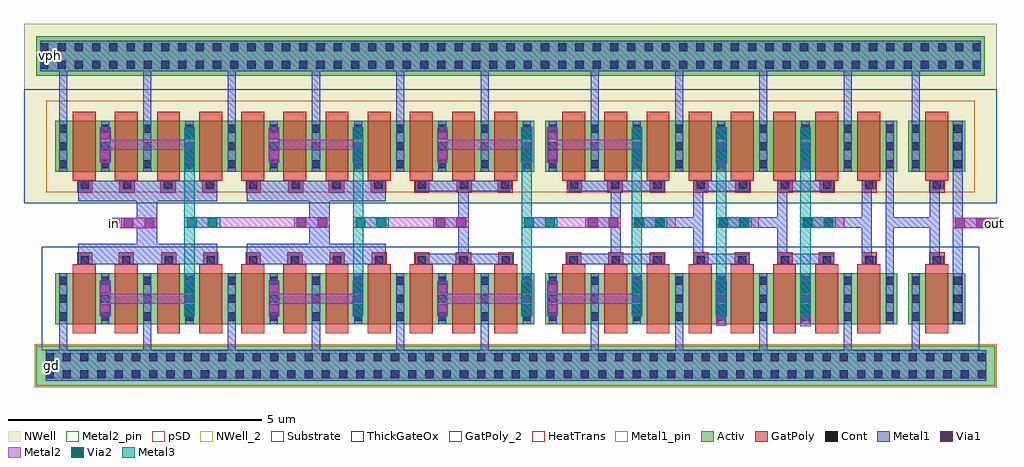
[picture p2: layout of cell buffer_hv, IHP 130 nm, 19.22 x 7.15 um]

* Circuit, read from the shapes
.subckt buffer_hv gd in out vph
XM1 n1 in gd gd sg13_hv_nmos w=1u l=0.45u m=4
XM2 n2 n1 gd gd sg13_hv_nmos w=1u l=0.45u m=4
XM3 n3 n2 gd gd sg13_hv_nmos w=1u l=0.45u m=3
XM4 gd n3 n4 gd sg13_hv_nmos w=1u l=0.45u m=3
XM5 n5 n4 gd gd sg13_hv_nmos w=1u l=0.45u m=2
XM6 n6 n5 gd gd sg13_hv_nmos w=1u l=0.45u m=2
XM7 n7 n6 gd gd sg13_hv_nmos w=1u l=0.45u
XM8 out n7 gd gd sg13_hv_nmos w=1u l=0.45u
XM9 n1 in vph vph sg13_hv_pmos w=1u l=0.45u m=4
XM10 n2 n1 vph vph sg13_hv_pmos w=1u l=0.45u m=4
XM11 n3 n2 vph vph sg13_hv_pmos w=1u l=0.45u m=3
XM12 vph n3 n4 vph sg13_hv_pmos w=1u l=0.45u m=3
XM13 n5 n4 vph vph sg13_hv_pmos w=1u l=0.45u m=2
XM14 n6 n5 vph vph sg13_hv_pmos w=1u l=0.45u m=2
XM15 n7 n6 vph vph sg13_hv_pmos w=1u l=0.45u
XM16 out n7 vph vph sg13_hv_pmos w=1u l=0.45u
.ends

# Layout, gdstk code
from math import pi, radians
import gdstk
lib = gdstk.Library(unit=1e-6, precision=1e-09)
def R(c, l, rs):  # rectangles x0, y0, x1, y1
    for r in rs: c.add(gdstk.rectangle(r[:2], r[2:], *l))
def A(c, l, x, y, w, h, nx, ny, dx, dy):  # array of equal rectangles
    R(c, l, [(x+i*dx, y+j*dy, x+i*dx+w, y+j*dy+h) for i in range(nx) for j in range(ny)])
Activ = (1, 0)
GatPoly = (5, 0)
GatPoly_2 = (5, 2)
Cont = (6, 0)
Metal1 = (8, 0)
Metal1_pin = (8, 2)
Metal2 = (10, 0)
Metal2_pin = (10, 2)
pSD = (14, 0)
Via1 = (19, 0)
Via2 = (29, 0)
Metal3 = (30, 0)
NWell = (31, 0)
NWell_2 = (31, 2)
Substrate = (40, 0)
ThickGateOx = (44, 0)
HeatTrans = (51, 0)

ptap1_40 = lib.new_cell('ptap1$40')
R(ptap1_40, Activ, [(0,0,18.89,0.78)])
A(ptap1_40, Cont, 0.185, 0.14, 0.16, 0.16, 55, 2, 0.34, 0.34)
R(ptap1_40, Metal1, [(0.185,0.09,18.705,0.69), (0.185,0.14,18.705,0.64)])
R(ptap1_40, Metal1_pin, [(0.185,0.14,18.705,0.64)])
R(ptap1_40, pSD, [(-0.03,-0.03,18.92,0.81)])
R(ptap1_40, Substrate, [(0,0,18.89,0.78)])
ptap1_40.add(gdstk.Label('sub!', (9.445,0.01), layer=63, texttype=0))
ptap1_40.add(gdstk.Label('sub!', (9.445,0.01), layer=40, texttype=0))

pmoshv_1_2 = lib.new_cell('pmosHV$1$2')
A(pmoshv_1_2, Activ, 0, 0, 0.3, 0.3, 4, 1, 0.83, 0)
R(pmoshv_1_2, Activ, [(0,0,2.79,1)])
A(pmoshv_1_2, GatPoly, 0.34, -0.18, 0.45, 1.36, 3, 1, 0.83, 0)
R(pmoshv_1_2, GatPoly_2, [(0.34,-0.18,0.79,1.18)])
A(pmoshv_1_2, Cont, 0.07, 0.07, 0.16, 0.16, 4, 3, 0.83, 0.35)
A(pmoshv_1_2, Metal1, 0.07, 0, 0.16, 1, 4, 1, 0.83, 0)
R(pmoshv_1_2, Metal1_pin, [(0.07,0,0.23,1), (0.9,0,1.06,1)])
R(pmoshv_1_2, pSD, [(-0.18,-0.4,2.97,1.4)])
R(pmoshv_1_2, NWell, [(-0.62,-0.62,3.41,1.62)])
R(pmoshv_1_2, ThickGateOx, [(-0.62,-0.62,3.41,1.62)])
A(pmoshv_1_2, HeatTrans, 0.34, -0.18, 0.45, 1.36, 3, 1, 0.83, 0)
pmoshv_1_2.add(gdstk.Label('pmosHV', (0.565,0.5), layer=63, texttype=0))
pmoshv_1_2.add(gdstk.Label('pmos', (0.565,0.5), layer=51, texttype=0))
pmoshv_1_2.add(gdstk.Label('pmos', (1.395,0.5), layer=51, texttype=0))
pmoshv_1_2.add(gdstk.Label('pmos', (2.225,0.5), layer=51, texttype=0))

ntap1_4 = lib.new_cell('ntap1$4')
R(ntap1_4, Activ, [(0,0,18.68,0.78)])
A(ntap1_4, Cont, 0.08, 0.14, 0.16, 0.16, 55, 2, 0.34, 0.34)
R(ntap1_4, Metal1, [(0.08,0.09,18.6,0.69)])
R(ntap1_4, Metal1_pin, [(0.08,0.09,18.6,0.69), (0.08,0.14,18.6,0.64)])
R(ntap1_4, NWell, [(-0.24,-0.24,18.92,1.02), (0,0,18.68,0.78)])
R(ntap1_4, NWell_2, [(0,0,18.68,0.78)])
ntap1_4.add(gdstk.Label('well', (9.34,0.01), layer=63, texttype=0))
ntap1_4.add(gdstk.Label('well', (9.34,0.01), layer=31, texttype=0))

nmoshv_1_2 = lib.new_cell('nmosHV$1$2')
A(nmoshv_1_2, Activ, 0, 0, 0.3, 0.3, 4, 1, 0.83, 0)
R(nmoshv_1_2, Activ, [(0,0,2.79,1)])
A(nmoshv_1_2, GatPoly, 0.34, -0.18, 0.45, 1.36, 3, 1, 0.83, 0)
R(nmoshv_1_2, GatPoly_2, [(0.34,-0.18,0.79,1.18)])
A(nmoshv_1_2, Cont, 0.07, 0.07, 0.16, 0.16, 4, 3, 0.83, 0.35)
A(nmoshv_1_2, Metal1, 0.07, 0, 0.16, 1, 4, 1, 0.83, 0)
R(nmoshv_1_2, Metal1_pin, [(0.07,0,0.23,1), (0.9,0,1.06,1)])
R(nmoshv_1_2, ThickGateOx, [(-0.27,-0.52,3.06,1.52)])
A(nmoshv_1_2, HeatTrans, 0.34, -0.18, 0.45, 1.36, 3, 1, 0.83, 0)
nmoshv_1_2.add(gdstk.Label('nmosHV', (0.565,0.5), layer=63, texttype=0))
nmoshv_1_2.add(gdstk.Label('nmosHV', (0.565,0.5), layer=51, texttype=0))
nmoshv_1_2.add(gdstk.Label('nmosHV', (1.395,0.5), layer=51, texttype=0))
nmoshv_1_2.add(gdstk.Label('nmosHV', (2.225,0.5), layer=51, texttype=0))

via_97 = lib.new_cell('Via$97')
R(via_97, GatPoly, [(-0.15,-0.15,0.15,0.15)])
R(via_97, Cont, [(-0.08,-0.08,0.08,0.08)])
R(via_97, Metal1, [(-0.13,-0.08,0.13,0.08)])

via_2_4 = lib.new_cell('Via$2$4')
R(via_2_4, Metal1, [(-0.35,-0.105,0.35,0.105)])
R(via_2_4, Metal2, [(-0.35,-0.1,0.35,0.1)])
R(via_2_4, Via1, [(-0.3,-0.095,-0.11,0.095), (0.11,-0.095,0.3,0.095)])

pmoshv_3_2 = lib.new_cell('pmosHV$3$2')
R(pmoshv_3_2, Activ, [(0,0,0.3,0.3), (0,0,1.13,1), (0.83,0,1.13,0.3)])
R(pmoshv_3_2, GatPoly, [(0.34,-0.18,0.79,1.18)])
R(pmoshv_3_2, GatPoly_2, [(0.34,-0.18,0.79,1.18)])
A(pmoshv_3_2, Cont, 0.07, 0.07, 0.16, 0.16, 1, 3, 0, 0.35)
A(pmoshv_3_2, Cont, 0.9, 0.07, 0.16, 0.16, 1, 3, 0, 0.35)
R(pmoshv_3_2, Metal1, [(0.07,0,0.23,1), (0.9,0,1.06,1)])
R(pmoshv_3_2, Metal1_pin, [(0.07,0,0.23,1), (0.9,0,1.06,1)])
R(pmoshv_3_2, pSD, [(-0.18,-0.4,1.31,1.4)])
R(pmoshv_3_2, NWell, [(-0.62,-0.62,1.75,1.62)])
R(pmoshv_3_2, ThickGateOx, [(-0.62,-0.62,1.75,1.62)])
R(pmoshv_3_2, HeatTrans, [(0.34,-0.18,0.79,1.18)])
pmoshv_3_2.add(gdstk.Label('pmosHV', (0.565,0.5), layer=63, texttype=0))
pmoshv_3_2.add(gdstk.Label('pmos', (0.565,0.5), layer=51, texttype=0))

pmoshv_2_2 = lib.new_cell('pmosHV$2$2')
A(pmoshv_2_2, Activ, 0, 0, 0.3, 0.3, 3, 1, 0.83, 0)
R(pmoshv_2_2, Activ, [(0,0,1.96,1)])
R(pmoshv_2_2, GatPoly, [(0.34,-0.18,0.79,1.18), (1.17,-0.18,1.62,1.18)])
R(pmoshv_2_2, GatPoly_2, [(0.34,-0.18,0.79,1.18)])
A(pmoshv_2_2, Cont, 0.07, 0.07, 0.16, 0.16, 3, 3, 0.83, 0.35)
A(pmoshv_2_2, Metal1, 0.07, 0, 0.16, 1, 3, 1, 0.83, 0)
R(pmoshv_2_2, Metal1_pin, [(0.07,0,0.23,1), (0.9,0,1.06,1)])
R(pmoshv_2_2, pSD, [(-0.18,-0.4,2.14,1.4)])
R(pmoshv_2_2, NWell, [(-0.62,-0.62,2.58,1.62)])
R(pmoshv_2_2, ThickGateOx, [(-0.62,-0.62,2.58,1.62)])
R(pmoshv_2_2, HeatTrans, [(0.34,-0.18,0.79,1.18), (1.17,-0.18,1.62,1.18)])
pmoshv_2_2.add(gdstk.Label('pmosHV', (0.565,0.5), layer=63, texttype=0))
pmoshv_2_2.add(gdstk.Label('pmos', (0.565,0.5), layer=51, texttype=0))
pmoshv_2_2.add(gdstk.Label('pmos', (1.395,0.5), layer=51, texttype=0))

via_5_14 = lib.new_cell('Via$5$14')
R(via_5_14, Metal2, [(-0.35,-0.1,0.35,0.1)])
R(via_5_14, Via2, [(-0.3,-0.095,-0.11,0.095), (0.11,-0.095,0.3,0.095)])
R(via_5_14, Metal3, [(-0.35,-0.1,0.35,0.1)])

pmoshv_4 = lib.new_cell('pmosHV$4')
A(pmoshv_4, Activ, 0, 0, 0.3, 0.3, 5, 1, 0.83, 0)
R(pmoshv_4, Activ, [(0,0,3.62,1)])
A(pmoshv_4, GatPoly, 0.34, -0.18, 0.45, 1.36, 4, 1, 0.83, 0)
R(pmoshv_4, GatPoly_2, [(0.34,-0.18,0.79,1.18)])
A(pmoshv_4, Cont, 0.07, 0.07, 0.16, 0.16, 5, 3, 0.83, 0.35)
A(pmoshv_4, Metal1, 0.07, 0, 0.16, 1, 5, 1, 0.83, 0)
R(pmoshv_4, Metal1_pin, [(0.07,0,0.23,1), (0.9,0,1.06,1)])
R(pmoshv_4, pSD, [(-0.18,-0.4,3.8,1.4)])
R(pmoshv_4, NWell, [(-0.62,-0.62,4.24,1.62)])
R(pmoshv_4, ThickGateOx, [(-0.62,-0.62,4.24,1.62)])
A(pmoshv_4, HeatTrans, 0.34, -0.18, 0.45, 1.36, 4, 1, 0.83, 0)
pmoshv_4.add(gdstk.Label('pmosHV', (0.565,0.5), layer=63, texttype=0))
pmoshv_4.add(gdstk.Label('pmos', (0.565,0.5), layer=51, texttype=0))
pmoshv_4.add(gdstk.Label('pmos', (1.395,0.5), layer=51, texttype=0))
pmoshv_4.add(gdstk.Label('pmos', (2.225,0.5), layer=51, texttype=0))
pmoshv_4.add(gdstk.Label('pmos', (3.055,0.5), layer=51, texttype=0))

via_4_5 = lib.new_cell('Via$4$5')
R(via_4_5, Metal2, [(-0.35,-0.1,0.35,0.1)])
R(via_4_5, Via2, [(-0.3,-0.095,-0.11,0.095), (0.11,-0.095,0.3,0.095)])
R(via_4_5, Metal3, [(-0.35,-0.1,0.35,0.1)])

via_7_1 = lib.new_cell('Via$7$1')
R(via_7_1, Metal1, [(-0.35,-0.105,0.35,0.105)])
R(via_7_1, Metal2, [(-0.35,-0.1,0.35,0.1)])
R(via_7_1, Via1, [(-0.3,-0.095,-0.11,0.095), (0.11,-0.095,0.3,0.095)])

nmoshv_5 = lib.new_cell('nmosHV$5')
A(nmoshv_5, Activ, 0, 0, 0.3, 0.3, 5, 1, 0.83, 0)
R(nmoshv_5, Activ, [(0,0,3.62,1)])
A(nmoshv_5, GatPoly, 0.34, -0.18, 0.45, 1.36, 4, 1, 0.83, 0)
R(nmoshv_5, GatPoly_2, [(0.34,-0.18,0.79,1.18)])
A(nmoshv_5, Cont, 0.07, 0.07, 0.16, 0.16, 5, 3, 0.83, 0.35)
A(nmoshv_5, Metal1, 0.07, 0, 0.16, 1, 5, 1, 0.83, 0)
R(nmoshv_5, Metal1_pin, [(0.07,0,0.23,1), (0.9,0,1.06,1)])
R(nmoshv_5, ThickGateOx, [(-0.27,-0.52,3.89,1.52)])
A(nmoshv_5, HeatTrans, 0.34, -0.18, 0.45, 1.36, 4, 1, 0.83, 0)
nmoshv_5.add(gdstk.Label('nmosHV', (0.565,0.5), layer=63, texttype=0))
nmoshv_5.add(gdstk.Label('nmosHV', (0.565,0.5), layer=51, texttype=0))
nmoshv_5.add(gdstk.Label('nmosHV', (1.395,0.5), layer=51, texttype=0))
nmoshv_5.add(gdstk.Label('nmosHV', (2.225,0.5), layer=51, texttype=0))
nmoshv_5.add(gdstk.Label('nmosHV', (3.055,0.5), layer=51, texttype=0))

via_1 = lib.new_cell('Via$1')
R(via_1, Metal1, [(-0.35,-0.105,0.35,0.105)])
R(via_1, Metal2, [(-0.35,-0.1,0.35,0.1)])
R(via_1, Via1, [(-0.3,-0.095,-0.11,0.095), (0.11,-0.095,0.3,0.095)])

nmoshv_2_2 = lib.new_cell('nmosHV$2$2')
A(nmoshv_2_2, Activ, 0, 0, 0.3, 0.3, 3, 1, 0.83, 0)
R(nmoshv_2_2, Activ, [(0,0,1.96,1)])
R(nmoshv_2_2, GatPoly, [(0.34,-0.18,0.79,1.18), (1.17,-0.18,1.62,1.18)])
R(nmoshv_2_2, GatPoly_2, [(0.34,-0.18,0.79,1.18)])
A(nmoshv_2_2, Cont, 0.07, 0.07, 0.16, 0.16, 3, 3, 0.83, 0.35)
A(nmoshv_2_2, Metal1, 0.07, 0, 0.16, 1, 3, 1, 0.83, 0)
R(nmoshv_2_2, Metal1_pin, [(0.07,0,0.23,1), (0.9,0,1.06,1)])
R(nmoshv_2_2, ThickGateOx, [(-0.27,-0.52,2.23,1.52)])
R(nmoshv_2_2, HeatTrans, [(0.34,-0.18,0.79,1.18), (1.17,-0.18,1.62,1.18)])
nmoshv_2_2.add(gdstk.Label('nmosHV', (0.565,0.5), layer=63, texttype=0))
nmoshv_2_2.add(gdstk.Label('nmosHV', (0.565,0.5), layer=51, texttype=0))
nmoshv_2_2.add(gdstk.Label('nmosHV', (1.395,0.5), layer=51, texttype=0))

nmoshv_3_2 = lib.new_cell('nmosHV$3$2')
R(nmoshv_3_2, Activ, [(0,0,0.3,0.3), (0,0,1.13,1), (0.83,0,1.13,0.3)])
R(nmoshv_3_2, GatPoly, [(0.34,-0.18,0.79,1.18)])
R(nmoshv_3_2, GatPoly_2, [(0.34,-0.18,0.79,1.18)])
A(nmoshv_3_2, Cont, 0.07, 0.07, 0.16, 0.16, 1, 3, 0, 0.35)
A(nmoshv_3_2, Cont, 0.9, 0.07, 0.16, 0.16, 1, 3, 0, 0.35)
R(nmoshv_3_2, Metal1, [(0.07,0,0.23,1), (0.9,0,1.06,1)])
R(nmoshv_3_2, Metal1_pin, [(0.07,0,0.23,1), (0.9,0,1.06,1)])
R(nmoshv_3_2, ThickGateOx, [(-0.27,-0.52,1.4,1.52)])
R(nmoshv_3_2, HeatTrans, [(0.34,-0.18,0.79,1.18)])
nmoshv_3_2.add(gdstk.Label('nmosHV', (0.565,0.5), layer=63, texttype=0))
nmoshv_3_2.add(gdstk.Label('nmosHV', (0.565,0.5), layer=51, texttype=0))

via_6_14 = lib.new_cell('Via$6$14')
R(via_6_14, Metal1, [(-0.35,-0.105,0.35,0.105)])
R(via_6_14, Metal2, [(-0.35,-0.1,0.35,0.1)])
R(via_6_14, Via1, [(-0.3,-0.095,-0.11,0.095), (0.11,-0.095,0.3,0.095)])

buffer_hv = lib.new_cell('buffer_hv')
A(buffer_hv, Metal1, 26.27, 15.85, 0.06, 0.1, 3, 1, 1.66, 0)
R(buffer_hv, Metal1, [(30.93,15.85,30.99,15.95)])
R(buffer_hv, Metal1_pin, [(13.53,12.21,13.73,12.41), (13.51,18.31,13.71,18.51)])
R(buffer_hv, Metal2_pin, [(14.785,15.02,14.985,15.22), (32.115,15.02,32.315,15.22)])
R(buffer_hv, NWell, [(13.095,15.51,32.255,19.04)])
buffer_hv.add(gdstk.FlexPath([(13.865,17.13),(13.865,18.11)], 0.16, ends="flush", simple_path=True, layer=8, datatype=0))  # Metal1
buffer_hv.add(gdstk.FlexPath([(15.525,17.13),(15.525,18.11)], 0.16, ends="flush", simple_path=True, layer=8, datatype=0))  # Metal1
buffer_hv.add(gdstk.FlexPath([(17.185,17.13),(17.185,18.11)], 0.16, ends="flush", simple_path=True, layer=8, datatype=0))  # Metal1
buffer_hv.add(gdstk.FlexPath([(13.865,13.13),(13.865,12.56)], 0.16, ends="flush", simple_path=True, layer=8, datatype=0))  # Metal1
buffer_hv.add(gdstk.FlexPath([(15.525,13.13),(15.525,12.56)], 0.16, ends="flush", simple_path=True, layer=8, datatype=0))  # Metal1
buffer_hv.add(gdstk.FlexPath([(17.185,13.13),(17.185,12.56)], 0.16, ends="flush", simple_path=True, layer=8, datatype=0))  # Metal1
buffer_hv.add(gdstk.FlexPath([(16.9,14.51),(14.16,14.51)], 0.4, ends="flush", simple_path=True, layer=8, datatype=0))  # Metal1
buffer_hv.add(gdstk.FlexPath([(16.9,15.75),(14.16,15.75)], 0.4, ends="flush", simple_path=True, layer=8, datatype=0))  # Metal1
buffer_hv.add(gdstk.FlexPath([(15.515,15.95),(15.515,14.31)], 0.4, ends="flush", simple_path=True, layer=8, datatype=0))  # Metal1
buffer_hv.add(gdstk.FlexPath([(30.655,17.13),(30.655,18.11)], 0.16, ends="flush", simple_path=True, layer=8, datatype=0))  # Metal1
buffer_hv.add(gdstk.FlexPath([(29.315,17.13),(29.315,18.11)], 0.16, ends="flush", simple_path=True, layer=8, datatype=0))  # Metal1
buffer_hv.add(gdstk.FlexPath([(29.315,13.13),(29.315,12.56)], 0.16, ends="flush", simple_path=True, layer=8, datatype=0))  # Metal1
buffer_hv.add(gdstk.FlexPath([(30.655,13.13),(30.655,12.56)], 0.16, ends="flush", simple_path=True, layer=8, datatype=0))  # Metal1
buffer_hv.add(gdstk.FlexPath([(29.69,15.85),(29.69,14.32)], 0.2, ends="flush", simple_path=True, layer=8, datatype=0))  # Metal1
buffer_hv.add(gdstk.FlexPath([(31.03,15.85),(31.03,14.32)], 0.2, ends="flush", simple_path=True, layer=8, datatype=0))  # Metal1
buffer_hv.add(gdstk.FlexPath([(20.505,17.13),(20.505,18.11)], 0.16, ends="flush", simple_path=True, layer=8, datatype=0))  # Metal1
buffer_hv.add(gdstk.FlexPath([(22.165,17.13),(22.165,18.11)], 0.16, ends="flush", simple_path=True, layer=8, datatype=0))  # Metal1
buffer_hv.add(gdstk.FlexPath([(17.185,17.13),(17.185,18.11)], 0.16, ends="flush", simple_path=True, layer=8, datatype=0))  # Metal1
buffer_hv.add(gdstk.FlexPath([(18.845,17.13),(18.845,18.11)], 0.16, ends="flush", simple_path=True, layer=8, datatype=0))  # Metal1
buffer_hv.add(gdstk.FlexPath([(20.505,17.13),(20.505,18.11)], 0.16, ends="flush", simple_path=True, layer=8, datatype=0))  # Metal1
buffer_hv.add(gdstk.FlexPath([(17.185,13.13),(17.185,12.56)], 0.16, ends="flush", simple_path=True, layer=8, datatype=0))  # Metal1
buffer_hv.add(gdstk.FlexPath([(18.845,13.13),(18.845,12.56)], 0.16, ends="flush", simple_path=True, layer=8, datatype=0))  # Metal1
buffer_hv.add(gdstk.FlexPath([(20.505,13.13),(20.505,12.56)], 0.16, ends="flush", simple_path=True, layer=8, datatype=0))  # Metal1
buffer_hv.add(gdstk.FlexPath([(20.22,14.51),(17.48,14.51)], 0.4, ends="flush", simple_path=True, layer=8, datatype=0))  # Metal1
buffer_hv.add(gdstk.FlexPath([(20.22,15.75),(17.48,15.75)], 0.4, ends="flush", simple_path=True, layer=8, datatype=0))  # Metal1
buffer_hv.add(gdstk.FlexPath([(18.915,15.95),(18.915,14.31)], 0.4, ends="flush", simple_path=True, layer=8, datatype=0))  # Metal1
buffer_hv.add(gdstk.FlexPath([(22.715,14.41),(20.8,14.41)], 0.2, ends="flush", simple_path=True, layer=8, datatype=0))  # Metal1
buffer_hv.add(gdstk.FlexPath([(20.505,13.13),(20.505,12.56)], 0.16, ends="flush", simple_path=True, layer=8, datatype=0))  # Metal1
buffer_hv.add(gdstk.FlexPath([(22.165,13.13),(22.165,12.56)], 0.16, ends="flush", simple_path=True, layer=8, datatype=0))  # Metal1
buffer_hv.add(gdstk.FlexPath([(22.675,15.85),(20.8,15.85)], 0.2, ends="flush", simple_path=True, layer=8, datatype=0))  # Metal1
buffer_hv.add(gdstk.FlexPath([(21.75,14.39),(21.75,15.87)], 0.2, ends="flush", simple_path=True, layer=8, datatype=0))  # Metal1
buffer_hv.add(gdstk.FlexPath([(24.75,14.39),(24.75,15.87)], 0.2, ends="flush", simple_path=True, layer=8, datatype=0))  # Metal1
buffer_hv.add(gdstk.FlexPath([(23.825,15.85),(25.7,15.85)], 0.2, ends="flush", simple_path=True, layer=8, datatype=0))  # Metal1
buffer_hv.add(gdstk.FlexPath([(24.335,13.13),(24.335,12.56)], 0.16, ends="flush", simple_path=True, layer=8, datatype=0))  # Metal1
buffer_hv.add(gdstk.FlexPath([(25.995,13.13),(25.995,12.56)], 0.16, ends="flush", simple_path=True, layer=8, datatype=0))  # Metal1
buffer_hv.add(gdstk.FlexPath([(23.785,14.41),(25.7,14.41)], 0.2, ends="flush", simple_path=True, layer=8, datatype=0))  # Metal1
buffer_hv.add(gdstk.FlexPath([(24.335,17.13),(24.335,18.11)], 0.16, ends="flush", simple_path=True, layer=8, datatype=0))  # Metal1
buffer_hv.add(gdstk.FlexPath([(25.995,17.13),(25.995,18.11)], 0.16, ends="flush", simple_path=True, layer=8, datatype=0))  # Metal1
buffer_hv.add(gdstk.FlexPath([(25.995,17.13),(25.995,18.11)], 0.16, ends="flush", simple_path=True, layer=8, datatype=0))  # Metal1
buffer_hv.add(gdstk.FlexPath([(27.655,17.13),(27.655,18.11)], 0.16, ends="flush", simple_path=True, layer=8, datatype=0))  # Metal1
buffer_hv.add(gdstk.FlexPath([(27.39,14.41),(26.27,14.41)], 0.2, ends="flush", simple_path=True, layer=8, datatype=0))  # Metal1
buffer_hv.add(gdstk.FlexPath([(25.995,13.13),(25.995,12.56)], 0.16, ends="flush", simple_path=True, layer=8, datatype=0))  # Metal1
buffer_hv.add(gdstk.FlexPath([(27.655,13.13),(27.655,12.56)], 0.16, ends="flush", simple_path=True, layer=8, datatype=0))  # Metal1
buffer_hv.add(gdstk.FlexPath([(27.385,15.85),(26.29,15.85)], 0.2, ends="flush", simple_path=True, layer=8, datatype=0))  # Metal1
buffer_hv.add(gdstk.FlexPath([(26.37,15.85),(26.37,14.32)], 0.2, ends="flush", simple_path=True, layer=8, datatype=0))  # Metal1
buffer_hv.add(gdstk.FlexPath([(27.655,17.13),(27.655,18.11)], 0.16, ends="flush", simple_path=True, layer=8, datatype=0))  # Metal1
buffer_hv.add(gdstk.FlexPath([(29.315,17.13),(29.315,18.11)], 0.16, ends="flush", simple_path=True, layer=8, datatype=0))  # Metal1
buffer_hv.add(gdstk.FlexPath([(29.05,14.41),(27.93,14.41)], 0.2, ends="flush", simple_path=True, layer=8, datatype=0))  # Metal1
buffer_hv.add(gdstk.FlexPath([(27.655,13.13),(27.655,12.56)], 0.16, ends="flush", simple_path=True, layer=8, datatype=0))  # Metal1
buffer_hv.add(gdstk.FlexPath([(29.315,13.13),(29.315,12.56)], 0.16, ends="flush", simple_path=True, layer=8, datatype=0))  # Metal1
buffer_hv.add(gdstk.FlexPath([(29.045,15.85),(27.95,15.85)], 0.2, ends="flush", simple_path=True, layer=8, datatype=0))  # Metal1
buffer_hv.add(gdstk.FlexPath([(28.03,15.85),(28.03,14.32)], 0.2, ends="flush", simple_path=True, layer=8, datatype=0))  # Metal1
buffer_hv.add(gdstk.FlexPath([(26.03,15.13),(26.47,15.13)], 0.2, ends="flush", simple_path=True, layer=8, datatype=0))  # Metal1
buffer_hv.add(gdstk.FlexPath([(27.69,15.13),(28.13,15.13)], 0.2, ends="flush", simple_path=True, layer=8, datatype=0))  # Metal1
buffer_hv.add(gdstk.FlexPath([(30.145,16.13),(30.145,14.13)], 0.16, ends="flush", simple_path=True, layer=8, datatype=0))  # Metal1
buffer_hv.add(gdstk.FlexPath([(29.35,15.13),(29.79,15.13)], 0.2, ends="flush", simple_path=True, layer=8, datatype=0))  # Metal1
buffer_hv.add(gdstk.FlexPath([(25.62,15.13),(26.155,15.13)], 0.2, ends="flush", simple_path=True, layer=8, datatype=0))  # Metal1
buffer_hv.add(gdstk.FlexPath([(27.28,15.13),(27.815,15.13)], 0.2, ends="flush", simple_path=True, layer=8, datatype=0))  # Metal1
buffer_hv.add(gdstk.FlexPath([(28.94,15.13),(29.475,15.13)], 0.2, ends="flush", simple_path=True, layer=8, datatype=0))  # Metal1
buffer_hv.add(gdstk.FlexPath([(30.065,15.13),(30.6,15.13)], 0.2, ends="flush", simple_path=True, layer=8, datatype=0))  # Metal1
buffer_hv.add(gdstk.FlexPath([(30.4,15.13),(31.13,15.13)], 0.2, ends="flush", simple_path=True, layer=8, datatype=0))  # Metal1
buffer_hv.add(gdstk.FlexPath([(31.485,17.13),(31.485,13.13)], 0.2, ends="flush", simple_path=True, layer=8, datatype=0))  # Metal1
buffer_hv.add(gdstk.FlexPath([(15.71,15.12),(14.785,15.12)], 0.2, ends="flush", simple_path=True, layer=10, datatype=0))  # Metal2
buffer_hv.add(gdstk.FlexPath([(31.385,15.12),(32.315,15.12)], 0.2, ends="flush", simple_path=True, layer=10, datatype=0))  # Metal2
buffer_hv.add(gdstk.FlexPath([(28.94,15.13),(29.245,15.13)], 0.2, ends="flush", simple_path=True, layer=10, datatype=0))  # Metal2
buffer_hv.add(gdstk.FlexPath([(14.695,13.63),(16.355,13.63)], 0.2, ends="flush", simple_path=True, layer=10, datatype=0))  # Metal2
buffer_hv.add(gdstk.FlexPath([(14.695,16.66),(16.355,16.66)], 0.2, ends="flush", simple_path=True, layer=10, datatype=0))  # Metal2
buffer_hv.add(gdstk.FlexPath([(25.415,15.13),(25.415,15.13)], 0.2, ends="flush", simple_path=True, layer=10, datatype=0))  # Metal2
buffer_hv.add(gdstk.FlexPath([(27.075,15.13),(27.075,15.13)], 0.2, ends="flush", simple_path=True, layer=10, datatype=0))  # Metal2
buffer_hv.add(gdstk.FlexPath([(18.015,13.63),(19.675,13.63)], 0.2, ends="flush", simple_path=True, layer=10, datatype=0))  # Metal2
buffer_hv.add(gdstk.FlexPath([(18.015,16.66),(19.675,16.66)], 0.2, ends="flush", simple_path=True, layer=10, datatype=0))  # Metal2
buffer_hv.add(gdstk.FlexPath([(21.335,13.63),(22.995,13.63)], 0.2, ends="flush", simple_path=True, layer=10, datatype=0))  # Metal2
buffer_hv.add(gdstk.FlexPath([(21.335,16.66),(22.995,16.66)], 0.2, ends="flush", simple_path=True, layer=10, datatype=0))  # Metal2
buffer_hv.add(gdstk.FlexPath([(25.165,16.66),(23.505,16.66)], 0.2, ends="flush", simple_path=True, layer=10, datatype=0))  # Metal2
buffer_hv.add(gdstk.FlexPath([(25.165,13.63),(23.505,13.63)], 0.2, ends="flush", simple_path=True, layer=10, datatype=0))  # Metal2
buffer_hv.add(gdstk.FlexPath([(16.355,13.63),(16.355,13.63)], 0.2, ends="flush", simple_path=True, layer=10, datatype=0))  # Metal2
buffer_hv.add(gdstk.FlexPath([(16.355,16.66),(16.355,16.66)], 0.2, ends="flush", simple_path=True, layer=10, datatype=0))  # Metal2
buffer_hv.add(gdstk.FlexPath([(16.81,15.13),(18.915,15.13)], 0.2, ends="flush", simple_path=True, layer=10, datatype=0))  # Metal2
buffer_hv.add(gdstk.FlexPath([(21.295,15.13),(19.575,15.13)], 0.2, ends="flush", simple_path=True, layer=10, datatype=0))  # Metal2
buffer_hv.add(gdstk.FlexPath([(24.615,15.13),(22.895,15.13)], 0.2, ends="flush", simple_path=True, layer=10, datatype=0))  # Metal2
buffer_hv.add(gdstk.FlexPath([(28.735,15.13),(28.735,15.13)], 0.2, ends="flush", simple_path=True, layer=10, datatype=0))  # Metal2
buffer_hv.add(gdstk.FlexPath([(27.28,15.13),(27.56,15.13)], 0.2, ends="flush", simple_path=True, layer=10, datatype=0))  # Metal2
buffer_hv.add(gdstk.FlexPath([(25.62,15.13),(25.93,15.13)], 0.2, ends="flush", simple_path=True, layer=10, datatype=0))  # Metal2
buffer_hv.add(gdstk.FlexPath([(28.485,16.66),(28.485,16.165)], 0.2, ends="flush", simple_path=True, layer=10, datatype=0))  # Metal2
buffer_hv.add(gdstk.FlexPath([(28.485,13.425),(28.485,13.09)], 0.2, ends="flush", simple_path=True, layer=10, datatype=0))  # Metal2
buffer_hv.add(gdstk.FlexPath([(26.825,13.43),(26.825,13.095)], 0.2, ends="flush", simple_path=True, layer=10, datatype=0))  # Metal2
buffer_hv.add(gdstk.FlexPath([(26.825,16.455),(26.825,16.165)], 0.2, ends="flush", simple_path=True, layer=10, datatype=0))  # Metal2
buffer_hv.add(gdstk.FlexPath([(16.355,13.63),(16.355,16.63)], 0.2, ends="flush", simple_path=True, layer=30, datatype=0))  # Metal3
buffer_hv.add(gdstk.FlexPath([(16.605,15.13),(16.605,15.13)], 0.2, ends="flush", simple_path=True, layer=30, datatype=0))  # Metal3
buffer_hv.add(gdstk.FlexPath([(19.675,16.66),(19.675,13.63)], 0.2, ends="flush", simple_path=True, layer=30, datatype=0))  # Metal3
buffer_hv.add(gdstk.FlexPath([(19.925,15.13),(19.925,15.13)], 0.2, ends="flush", simple_path=True, layer=30, datatype=0))  # Metal3
buffer_hv.add(gdstk.FlexPath([(22.995,13.63),(22.995,16.66)], 0.2, ends="flush", simple_path=True, layer=30, datatype=0))  # Metal3
buffer_hv.add(gdstk.FlexPath([(23.245,15.13),(23.245,15.13)], 0.2, ends="flush", simple_path=True, layer=30, datatype=0))  # Metal3
buffer_hv.add(gdstk.FlexPath([(26.825,13.63),(26.825,16.66)], 0.2, ends="flush", simple_path=True, layer=30, datatype=0))  # Metal3
buffer_hv.add(gdstk.FlexPath([(28.485,13.63),(28.485,16.66)], 0.2, ends="flush", simple_path=True, layer=30, datatype=0))  # Metal3
buffer_hv.add(gdstk.FlexPath([(25.165,13.63),(25.165,16.675)], 0.2, ends="flush", simple_path=True, layer=30, datatype=0))  # Metal3
buffer_hv.add(gdstk.FlexPath([(25.415,15.13),(25.415,15.13)], 0.2, ends="flush", simple_path=True, layer=30, datatype=0))  # Metal3
buffer_hv.add(gdstk.FlexPath([(27.075,15.13),(27.075,15.13)], 0.2, ends="flush", simple_path=True, layer=30, datatype=0))  # Metal3
buffer_hv.add(gdstk.FlexPath([(28.735,15.13),(28.735,15.13)], 0.2, ends="flush", simple_path=True, layer=30, datatype=0))  # Metal3
buffer_hv.add(gdstk.Reference(ptap1_40, (13.335,11.92)))
buffer_hv.add(gdstk.Reference(pmoshv_1_2, (20.355,16.13)))
buffer_hv.add(gdstk.Reference(ntap1_4, (13.335,18.02)))
buffer_hv.add(gdstk.Reference(nmoshv_1_2, (20.355,13.13)))
buffer_hv.add(gdstk.Reference(via_97, (22.57,15.87)))
buffer_hv.add(gdstk.Reference(via_97, (22.585,14.39)))
buffer_hv.add(gdstk.Reference(via_97, (31.075,15.87)))
buffer_hv.add(gdstk.Reference(via_2_4, (22.995,16.66), rotation=3*pi/2))
buffer_hv.add(gdstk.Reference(pmoshv_3_2, (29.165,16.13)))
buffer_hv.add(gdstk.Reference(pmoshv_3_2, (30.505,16.13)))
buffer_hv.add(gdstk.Reference(pmoshv_2_2, (25.845,16.13)))
buffer_hv.add(gdstk.Reference(via_97, (25.57,15.87), rotation=pi, x_reflection=True))
buffer_hv.add(gdstk.Reference(via_97, (24.735,15.87), rotation=pi, x_reflection=True))
buffer_hv.add(gdstk.Reference(via_97, (23.93,15.87), rotation=pi, x_reflection=True))
buffer_hv.add(gdstk.Reference(via_2_4, (25.165,16.66), rotation=3*pi/2, x_reflection=True))
buffer_hv.add(gdstk.Reference(via_2_4, (23.505,16.66), rotation=3*pi/2, x_reflection=True))
buffer_hv.add(gdstk.Reference(pmoshv_1_2, (26.145,16.13), rotation=pi, x_reflection=True))
buffer_hv.add(gdstk.Reference(via_5_14, (22.995,16.66), rotation=3*pi/2))
buffer_hv.add(gdstk.Reference(via_5_14, (25.165,16.66), rotation=3*pi/2))
buffer_hv.add(gdstk.Reference(via_2_4, (26.825,16.66), rotation=3*pi/2))
buffer_hv.add(gdstk.Reference(via_5_14, (26.825,16.66), rotation=3*pi/2))
buffer_hv.add(gdstk.Reference(via_97, (27.255,15.87)))
buffer_hv.add(gdstk.Reference(via_97, (26.42,15.87)))
buffer_hv.add(gdstk.Reference(pmoshv_2_2, (27.505,16.13)))
buffer_hv.add(gdstk.Reference(via_2_4, (28.485,16.66), rotation=3*pi/2))
buffer_hv.add(gdstk.Reference(via_5_14, (28.485,16.66), rotation=3*pi/2))
buffer_hv.add(gdstk.Reference(via_97, (28.915,15.87)))
buffer_hv.add(gdstk.Reference(via_97, (28.08,15.87)))
buffer_hv.add(gdstk.Reference(via_97, (29.74,15.87)))
buffer_hv.add(gdstk.Reference(via_97, (15.93,15.87)))
buffer_hv.add(gdstk.Reference(via_97, (15.125,15.87)))
buffer_hv.add(gdstk.Reference(pmoshv_4, (17.035,16.13)))
buffer_hv.add(gdstk.Reference(via_2_4, (19.675,16.66), rotation=3*pi/2))
buffer_hv.add(gdstk.Reference(via_2_4, (18.015,16.66), rotation=3*pi/2))
buffer_hv.add(gdstk.Reference(via_5_14, (16.355,16.66), rotation=3*pi/2))
buffer_hv.add(gdstk.Reference(via_5_14, (19.675,16.66), rotation=3*pi/2))
buffer_hv.add(gdstk.Reference(via_97, (20.075,15.87)))
buffer_hv.add(gdstk.Reference(via_97, (19.25,15.87)))
buffer_hv.add(gdstk.Reference(via_97, (18.445,15.87)))
buffer_hv.add(gdstk.Reference(via_97, (17.61,15.87)))
buffer_hv.add(gdstk.Reference(via_97, (14.29,15.87)))
buffer_hv.add(gdstk.Reference(via_2_4, (21.335,16.66), rotation=3*pi/2))
buffer_hv.add(gdstk.Reference(pmoshv_4, (13.715,16.13)))
buffer_hv.add(gdstk.Reference(via_2_4, (16.355,16.66), rotation=3*pi/2))
buffer_hv.add(gdstk.Reference(via_97, (21.765,15.87)))
buffer_hv.add(gdstk.Reference(via_2_4, (14.695,16.66), rotation=3*pi/2))
buffer_hv.add(gdstk.Reference(via_97, (20.93,15.87)))
buffer_hv.add(gdstk.Reference(via_97, (16.755,15.87)))
buffer_hv.add(gdstk.Reference(via_97, (20.09,14.39)))
buffer_hv.add(gdstk.Reference(via_97, (19.265,14.39)))
buffer_hv.add(gdstk.Reference(via_97, (18.43,14.39)))
buffer_hv.add(gdstk.Reference(via_97, (15.11,14.39)))
buffer_hv.add(gdstk.Reference(via_5_14, (16.355,13.63), rotation=3*pi/2))
buffer_hv.add(gdstk.Reference(via_97, (17.61,14.39)))
buffer_hv.add(gdstk.Reference(via_4_5, (16.605,15.13)))
buffer_hv.add(gdstk.Reference(via_7_1, (18.765,15.13)))
buffer_hv.add(gdstk.Reference(via_5_14, (19.675,13.63), rotation=3*pi/2))
buffer_hv.add(gdstk.Reference(nmoshv_5, (17.035,13.13)))
buffer_hv.add(gdstk.Reference(via_4_5, (19.925,15.13)))
buffer_hv.add(gdstk.Reference(via_7_1, (21.5,15.13)))
buffer_hv.add(gdstk.Reference(via_1, (15.36,15.12)))
buffer_hv.add(gdstk.Reference(via_97, (14.29,14.39)))
buffer_hv.add(gdstk.Reference(via_2_4, (21.335,13.63), rotation=3*pi/2))
buffer_hv.add(gdstk.Reference(nmoshv_5, (13.715,13.13)))
buffer_hv.add(gdstk.Reference(via_2_4, (16.355,13.63), rotation=3*pi/2))
buffer_hv.add(gdstk.Reference(via_2_4, (19.675,13.63), rotation=3*pi/2))
buffer_hv.add(gdstk.Reference(via_2_4, (18.015,13.63), rotation=3*pi/2))
buffer_hv.add(gdstk.Reference(via_97, (21.75,14.39)))
buffer_hv.add(gdstk.Reference(via_2_4, (14.695,13.63), rotation=3*pi/2))
buffer_hv.add(gdstk.Reference(via_97, (20.93,14.39)))
buffer_hv.add(gdstk.Reference(via_97, (16.77,14.39)))
buffer_hv.add(gdstk.Reference(via_97, (15.945,14.39)))
buffer_hv.add(gdstk.Reference(via_5_14, (22.995,13.63), rotation=3*pi/2))
buffer_hv.add(gdstk.Reference(via_5_14, (25.165,13.63), rotation=3*pi/2))
buffer_hv.add(gdstk.Reference(via_2_4, (23.505,13.63), rotation=3*pi/2, x_reflection=True))
buffer_hv.add(gdstk.Reference(via_2_4, (22.995,13.63), rotation=3*pi/2))
buffer_hv.add(gdstk.Reference(via_4_5, (23.245,15.13)))
buffer_hv.add(gdstk.Reference(via_7_1, (24.5,15.13)))
buffer_hv.add(gdstk.Reference(via_5_14, (26.825,13.63), rotation=3*pi/2))
buffer_hv.add(gdstk.Reference(via_4_5, (28.735,15.13)))
buffer_hv.add(gdstk.Reference(via_2_4, (26.825,13.63), rotation=3*pi/2))
buffer_hv.add(gdstk.Reference(nmoshv_2_2, (25.845,13.13)))
buffer_hv.add(gdstk.Reference(via_97, (25.57,14.39), rotation=pi, x_reflection=True))
buffer_hv.add(gdstk.Reference(via_97, (27.24,14.39)))
buffer_hv.add(gdstk.Reference(via_1, (31.735,15.12)))
buffer_hv.add(gdstk.Reference(via_97, (26.42,14.39)))
buffer_hv.add(gdstk.Reference(via_97, (24.75,14.39), rotation=pi, x_reflection=True))
buffer_hv.add(gdstk.Reference(via_5_14, (28.485,13.63), rotation=3*pi/2))
buffer_hv.add(gdstk.Reference(via_97, (23.915,14.39), rotation=pi, x_reflection=True))
buffer_hv.add(gdstk.Reference(via_97, (31.075,14.39)))
buffer_hv.add(gdstk.Reference(via_2_4, (28.485,13.63), rotation=3*pi/2))
buffer_hv.add(gdstk.Reference(nmoshv_2_2, (27.505,13.13)))
buffer_hv.add(gdstk.Reference(nmoshv_3_2, (30.505,13.13)))
buffer_hv.add(gdstk.Reference(via_97, (28.9,14.39)))
buffer_hv.add(gdstk.Reference(nmoshv_1_2, (26.145,13.13), rotation=pi, x_reflection=True))
buffer_hv.add(gdstk.Reference(via_97, (28.08,14.39)))
buffer_hv.add(gdstk.Reference(via_4_5, (25.415,15.13)))
buffer_hv.add(gdstk.Reference(via_6_14, (25.415,15.13)))
buffer_hv.add(gdstk.Reference(via_4_5, (27.075,15.13)))
buffer_hv.add(gdstk.Reference(via_6_14, (27.075,15.13)))
buffer_hv.add(gdstk.Reference(via_6_14, (28.735,15.13)))
buffer_hv.add(gdstk.Reference(nmoshv_3_2, (29.165,13.13)))
buffer_hv.add(gdstk.Reference(via_2_4, (25.165,13.63), rotation=3*pi/2, x_reflection=True))
buffer_hv.add(gdstk.Reference(via_97, (29.74,14.39)))
buffer_hv.add(gdstk.Label('in', (14.885,15.12), layer=10, texttype=25))
buffer_hv.add(gdstk.Label('out', (32.215,15.12), layer=10, texttype=25))
buffer_hv.add(gdstk.Label('gd', (13.63,12.31), layer=8, texttype=25))
buffer_hv.add(gdstk.Label('vph', (13.61,18.41), layer=8, texttype=25))

lib.write_gds('buffer_hv.gds')
